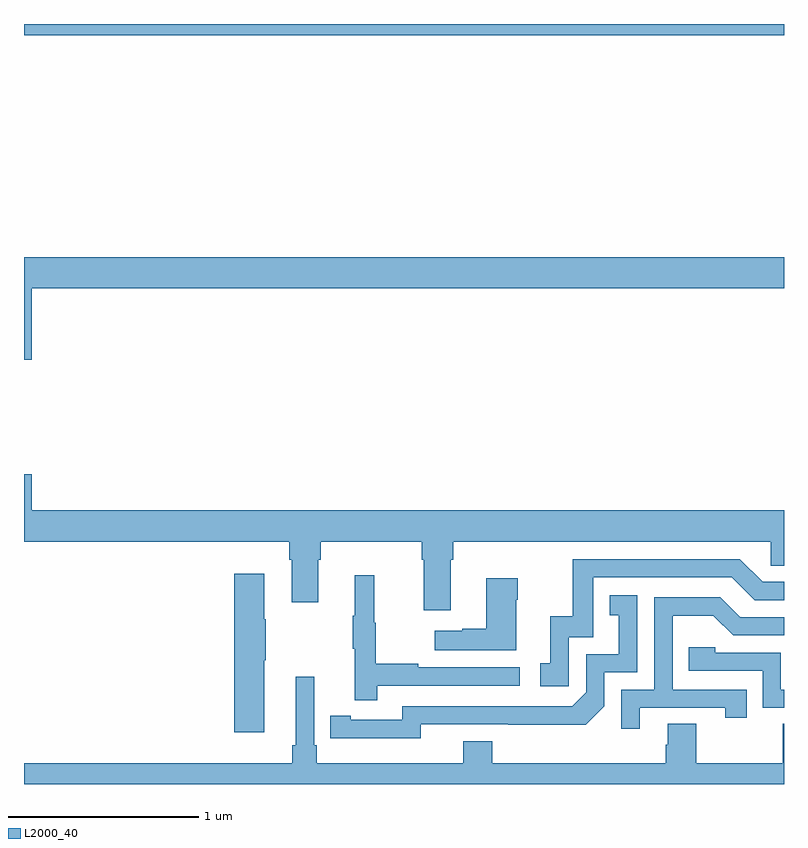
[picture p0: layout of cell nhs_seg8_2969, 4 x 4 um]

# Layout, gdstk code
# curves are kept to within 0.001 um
import gdstk
lib = gdstk.Library(unit=1e-6, precision=1e-09)
def R(c, l, rs):  # rectangles x0, y0, x1, y1
    for r in rs: c.add(gdstk.rectangle(r[:2], r[2:], *l))
def P(c, l, *ps):  # polygons
    for p in ps: c.add(gdstk.Polygon(p, *l))
L2000_40 = (2000, 40)

nhs_seg8_2969 = lib.new_cell('nhs_seg8_2969')
R(nhs_seg8_2969, L2000_40, [(297,1109.84,301,1109.9)])
P(nhs_seg8_2969, L2000_40, [(297.04,1108.508),(301,1108.508),(301,1108.672),(297,1108.672),(297,1108.134),(297.04,1108.134)],
  [(297.04,1107.529),(297,1107.529),(297,1107.176),(298.397,1107.176),(298.397,1107.08),(298.409,1107.08),(298.409,1106.856),(298.549,1106.856),(298.549,1107.08),(298.562,1107.08),(298.562,1107.176),(299.093,1107.176),(299.093,1107.08),(299.105,1107.08),(299.105,1106.814),(299.245,1106.814),(299.245,1107.08),(299.258,1107.08),(299.258,1107.176),(300.93,1107.176),(300.93,1107.049),(301,1107.049),(301,1107.34),(297.04,1107.34)],
  [(299.868,1106.673),(299.997,1106.673),(299.997,1106.988),(300.726,1106.988),(300.846,1106.868),(301,1106.868),(301,1106.964),(300.888,1106.964),(300.768,1107.084),(299.889,1107.084),(299.889,1106.782),(299.771,1106.782),(299.771,1106.535),(299.718,1106.535),(299.718,1106.415),(299.868,1106.415)],
  [(298.264,1106.551),(298.272,1106.551),(298.272,1106.768),(298.264,1106.768),(298.264,1107.007),(298.106,1107.007),(298.106,1106.172),(298.264,1106.172)],
  [(298.859,1106.418),(299.608,1106.418),(299.608,1106.514),(299.075,1106.514),(299.075,1106.534),(298.852,1106.534),(298.852,1106.748),(298.844,1106.748),(298.844,1106.998),(298.742,1106.998),(298.742,1106.785),(298.731,1106.785),(298.731,1106.611),(298.742,1106.611),(298.742,1106.34),(298.859,1106.34)],
  [(299.59,1106.87),(299.598,1106.87),(299.598,1106.983),(299.432,1106.983),(299.432,1106.717),(299.306,1106.717),(299.306,1106.707),(299.163,1106.707),(299.163,1106.603),(299.59,1106.603)],
  [(299.088,1106.214),(299.956,1106.213),(300.054,1106.31),(300.054,1106.487),(300.228,1106.487),(300.228,1106.893),(300.082,1106.893),(300.082,1106.787),(300.131,1106.787),(300.131,1106.583),(299.958,1106.583),(299.958,1106.382),(299.886,1106.31),(298.992,1106.31),(298.992,1106.238),(298.72,1106.238),(298.72,1106.258),(298.612,1106.258),(298.612,1106.142),(299.088,1106.141)],
  [(300.241,1106.301),(300.692,1106.301),(300.692,1106.25),(300.803,1106.25),(300.803,1106.397),(300.414,1106.397),(300.414,1106.786),(300.628,1106.786),(300.732,1106.682),(301,1106.682),(301,1106.778),(300.769,1106.778),(300.664,1106.883),(300.318,1106.883),(300.318,1106.397),(300.144,1106.397),(300.144,1106.19),(300.241,1106.19)],
  [(301,1106.397),(300.984,1106.397),(300.984,1106.592),(300.639,1106.592),(300.639,1106.619),(300.499,1106.619),(300.499,1106.496),(300.888,1106.496),(300.888,1106.301),(301,1106.301)],
  [(301,1106.216),(300.994,1106.216),(300.994,1106.008),(300.537,1106.008),(300.537,1106.216),(300.389,1106.216),(300.389,1106.106),(300.377,1106.106),(300.377,1106.008),(299.465,1106.008),(299.465,1106.125),(299.312,1106.125),(299.312,1106.008),(298.541,1106.008),(298.541,1106.104),(298.527,1106.104),(298.527,1106.464),(298.43,1106.464),(298.43,1106.104),(298.411,1106.104),(298.411,1106.008),(297,1106.008),(297,1105.9),(301,1105.9)])

lib.write_gds('nhs_seg8_2969.gds')
